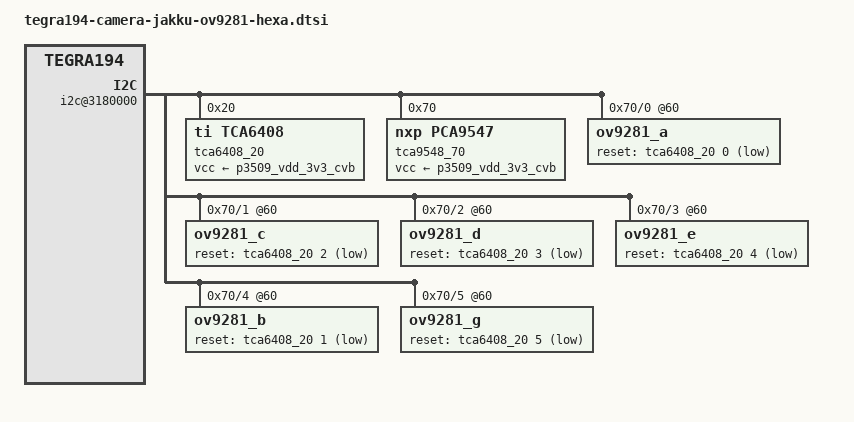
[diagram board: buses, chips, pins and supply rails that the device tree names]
/*
 * Copyright (c) 2015-2017, NVIDIA CORPORATION.  All rights reserved.
 *
 * This program is free software; you can redistribute it and/or modify
 * it under the terms of the GNU General Public License as published by
 * the Free Software Foundation; either version 2 of the License, or
 * (at your option) any later version.
 *
 * This program is distributed in the hope that it will be useful, but WITHOUT
 * ANY WARRANTY; without even the implied warranty of MERCHANTABILITY or
 * FITNESS FOR A PARTICULAR PURPOSE.  See the GNU General Public License for
 * more details.
 *
 * You should have received a copy of the GNU General Public License
 * along with this program.  If not, see <http://www.gnu.org/licenses/>.
 */

#include "tegra194-camera-ov9281-hexa.dtsi"

#define CAMERA_I2C_MUX_BUS(x) (0x1E + x)

/* camera control gpio definitions */

/ {

	/*en_vdd_cam: regulator@13 {
		status = "okay";
		compatible = "regulator-fixed-sync";
		reg = <13>;
		regulator-name = "en-vdd-cam";
		regulator-min-microvolt = <3300000>;
		regulator-max-microvolt = <3300000>;
		regulator-always-on;
	};*/

	
	i2c@3180000 {
		#address-cells = <1>;
        #size-cells = <0>;
		tca6408_20: tca6408@20 {
			status = "okay";
			compatible = "ti,tca6408";
			gpio-controller;
			#gpio-cells = <2>;
			reg = <0x20>;
			//vcc-supply = <&en_vdd_cam>;
			vcc-supply = <&p3509_vdd_3v3_cvb>;
			tca6408_20_outlow {
				/*
				* GPIO-0 : CAM0_PWDN
				* GPIO-1 : CAM1_PWDN
				* GPIO-2 : CAM2_PWDN
				* GPIO-3 : CAM3_PWDN
				* GPIO-4 : CAM4_PWDN
				* GPIO-5 : CAM5_PWDN
				* GPIO-6 : EXT_GPIO_0
				* GPIO-7 : EXT_GPIO_1
				*/
				gpio-hog;
				gpios = <0 0 1 0 2 0 3 0 4 0 5 0 6 0 7 0>;
				output-low;
				label = "cam_rst_0",
					"cam_rst_1",
					"cam_rst_2",
					"cam_rst_3",
					"cam_rst_4",
					"cam_rst_5",
					"ext_gpio_0",
					"ext_gpio_1";
			};
			tca6408_20_outhigh {
				status = "disabled";
			};
			tca6408_20_input {
				status = "disabled";
			};
		};
		tca9548_70: tca9548@70 {
			status = "okay";
			compatible = "nxp,pca9547";
			reg = <0x70>;
			#address-cells = <1>;
			#size-cells = <0>;		
			//vcc-supply = <&en_vdd_cam>;
			vcc-supply = <&p3509_vdd_3v3_cvb>;
			skip_mux_detect;	
			force_bus_start = <CAMERA_I2C_MUX_BUS(0)>;			
			i2c@0 {
				status = "okay";
				reg = <0>;
				i2c-mux,deselect-on-exit;
				#address-cells = <1>;
				#size-cells = <0>;
				ov9281_a@60 {
					status = "okay";
					reset-gpios = <&tca6408_20 0 GPIO_ACTIVE_LOW>;
				};
			};
			i2c@1 {
				status = "okay";
				reg = <1>;
				i2c-mux,deselect-on-exit;
				#address-cells = <1>;
				#size-cells = <0>;
				ov9281_c@60 {
					status = "okay";   						
					reset-gpios = <&tca6408_20 2 GPIO_ACTIVE_LOW>;
				};
			};
			i2c@2 {
				status = "okay";
				reg = <2>;
				i2c-mux,deselect-on-exit;
				#address-cells = <1>;
				#size-cells = <0>;
				ov9281_d@60 {
					status = "okay";  
					reset-gpios = <&tca6408_20 3 GPIO_ACTIVE_LOW>;
				};
			};
			i2c@3 {
				status = "okay";
				reg = <3>;
				i2c-mux,deselect-on-exit;
				#address-cells = <1>;
				#size-cells = <0>;
				ov9281_e@60 {
					status = "okay";
					reset-gpios = <&tca6408_20 4 GPIO_ACTIVE_LOW>;
				};
			};
			i2c@4 {
				status = "okay";
				reg = <4>;
				i2c-mux,deselect-on-exit;
				#address-cells = <1>;
				#size-cells = <0>;
				ov9281_b@60 {
					status = "okay";
					reset-gpios = <&tca6408_20 1 GPIO_ACTIVE_LOW>;
				};
			};
			i2c@5 {
				status = "okay";
				reg = <5>;
				i2c-mux,deselect-on-exit;
				#address-cells = <1>;
				#size-cells = <0>;
				ov9281_g@60 {
					status = "okay";
					reset-gpios = <&tca6408_20 5 GPIO_ACTIVE_LOW>;
				};
			};
		};
	};	
		
	
};
